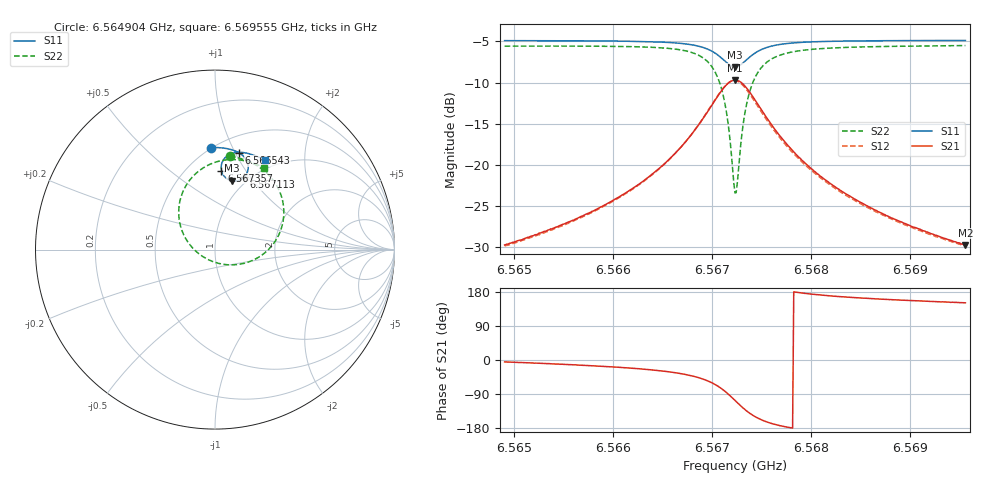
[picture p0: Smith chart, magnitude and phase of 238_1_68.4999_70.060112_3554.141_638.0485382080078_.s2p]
#  HZ  S  RI  R  50.00
! Rohde & Schwarz Vector Network Analyzer
! Rohde-Schwarz,ZNB20-2Port,1311601062101988,3.16
! Created: UTC 3/20/2024, 5:14:20 PM
! freq[Hz]  re:S11  im:S11  re:S21  im:S21  re:S12  im:S12  re:S22  im:S22
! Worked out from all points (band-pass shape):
!   401 points, 6.564904 GHz to 6.569555 GHz, reference 50 ohm
!   highest |S21| = -9.69 dB at 6.567229 GHz (marker M1); lowest = -29.7 dB at 6.569555 GHz (marker M2)
!   |S21| within 3 dB of the highest: 6.566998 GHz to 6.567463 GHz (465.2 kHz wide, 0.00708 % of centre)
!   lowest |S11| = -8.1 dB at 6.567229 GHz (marker M3), VSWR 2.30, Z = 43.5 + j39.5 ohm
!   |S11| at or under -10 dB: nowhere
!   |S22| runs from -23.4 to -5.5 dB; largest |S21 - S12| = 0.017
!   S11 on the Smith chart (normalised r, x): 6.564904 GHz: 0.50, +0.83; 6.566543 GHz: 0.66, +1.04; 6.567113 GHz: 0.94, +0.94; 6.567357 GHz: 0.72, +0.78; 6.569555 GHz: 0.87, +1.29
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6.5649039e9  -0.0201 0.5688  0.0326 -0.00285  0.032 -0.00333  0.0831 0.5202
6.5656829e9  0.046 0.5658  0.0475 -0.0116  0.0466 -0.0122  0.1634 0.5009
6.5661247e9  0.0876 0.5579  0.0633 -0.0236  0.0625 -0.0245  0.2228 0.4746
6.5664619e9  0.1243 0.5443  0.084 -0.0447  0.0828 -0.0458  0.2834 0.4312
6.5665433e9  0.1341 0.539  0.0907 -0.0535  0.0894 -0.0547  0.3012 0.4137
6.5667642e9  0.1633 0.5151  0.1122 -0.0943  0.1104 -0.0963  0.3557 0.3339
6.5669386e9  0.1835 0.4752  0.1218 -0.1643  0.1184 -0.168  0.3836 0.199
6.5670432e9  0.1816 0.435  0.1003 -0.2349  0.0936 -0.2398  0.346 0.0646
6.567113e9  0.1632 0.4039  0.0537 -0.2877  0.0425 -0.2913  0.2581 -0.0327
6.5671595e9  0.1396 0.3877  0.00215 -0.3136  -0.0119 -0.314  0.1616 -0.0767
6.567206e9  0.1087 0.3814  -0.0617 -0.32  -0.0769 -0.3155  0.0451 -0.0819
6.5672292e9  0.0925 0.3833  -0.0945 -0.3139  -0.1094 -0.3065  -0.0134 -0.0664
6.5672525e9  0.0769 0.3888  -0.1257 -0.3011  -0.1393 -0.2913  -0.067 -0.0396
6.5673106e9  0.0474 0.4143  -0.185 -0.2487  -0.1933 -0.2348  -0.1636 0.062
6.5673571e9  0.0362 0.44  -0.2091 -0.198  -0.2127 -0.1838  -0.1976 0.1543
6.5674501e9  0.0392 0.4847  -0.2107 -0.1117  -0.2086 -0.1008  -0.1854 0.3047
6.5675897e9  0.0669 0.5215  -0.1737 -0.0406  -0.1698 -0.0346  -0.1065 0.4241
6.5677524e9  0.0993 0.5375  -0.1335 -0.00706  -0.13 -0.00373  -0.0235 0.4773
6.5680082e9  0.1384 0.5422  -0.0935 0.0104  -0.0911 0.0118  0.0641 0.5
6.5683686e9  0.1793 0.5368  -0.0639 0.0161  -0.0622 0.0168  0.14 0.499
6.5687872e9  0.2177 0.5255  -0.0453 0.0171  -0.0443 0.0173  0.1981 0.4865
6.5695545e9  0.2772 0.4987  -0.0285 0.0159  -0.0279 0.0161  0.2736 0.4553
